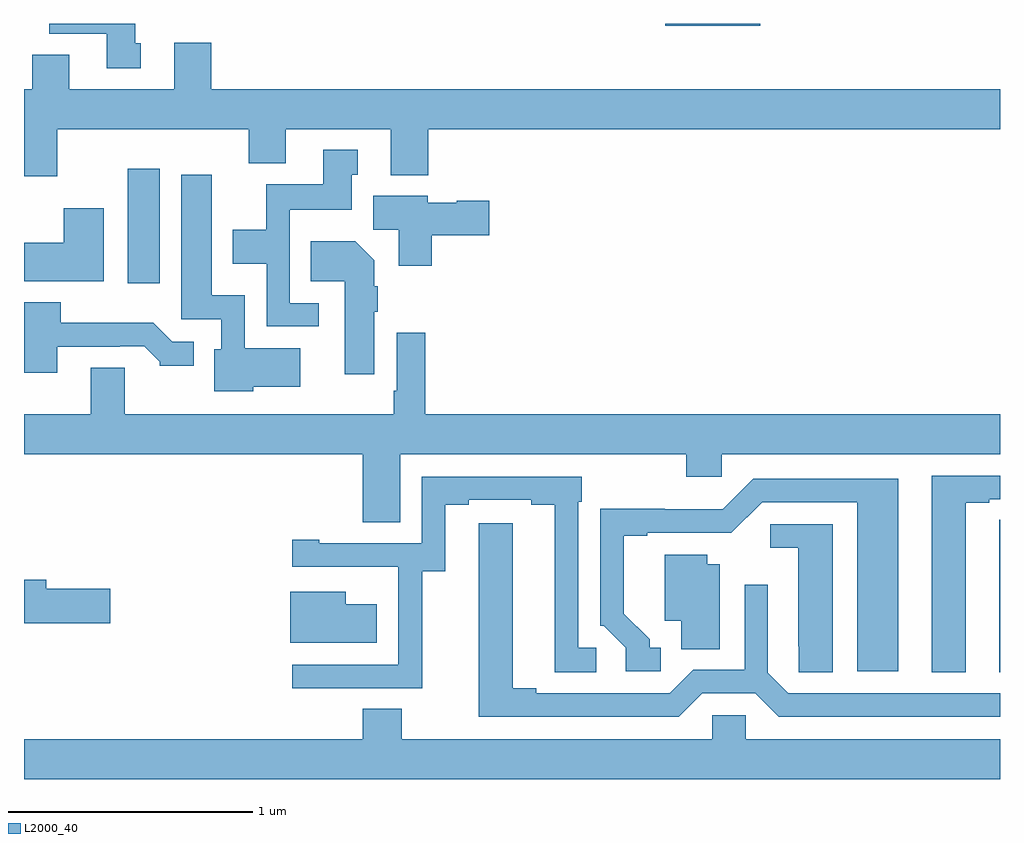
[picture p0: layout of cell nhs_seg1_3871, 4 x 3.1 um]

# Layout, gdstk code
import gdstk
lib = gdstk.Library(unit=1e-6, precision=1e-09)
def R(c, l, rs):  # rectangles x0, y0, x1, y1
    for r in rs: c.add(gdstk.rectangle(r[:2], r[2:], *l))
def P(c, l, *ps):  # polygons
    for p in ps: c.add(gdstk.Polygon(p, *l))
L2000_40 = (2000, 40)

nhs_seg1_3871 = lib.new_cell('nhs_seg1_3871')
R(nhs_seg1_3871, L2000_40, [(323.426,515.136,323.557,515.605), (325.628,516.191,326.017,516.199)])
P(nhs_seg1_3871, L2000_40, [(323.479,516.12),(323.455,516.12),(323.455,516.199),(323.104,516.199),(323.104,516.158),(323.339,516.158),(323.339,516.018),(323.479,516.018)],
  [(323.137,515.768),(323.921,515.768),(323.921,515.627),(324.073,515.627),(324.073,515.768),(324.503,515.768),(324.503,515.579),(324.656,515.579),(324.656,515.768),(327,515.768),(327,515.932),(323.768,515.932),(323.768,516.121),(323.615,516.121),(323.615,515.932),(323.185,515.932),(323.185,516.073),(323.033,516.073),(323.033,515.932),(323,515.932),(323,515.574),(323.137,515.574)],
  [(324.208,515.055),(324.09,515.055),(324.09,515.438),(324.343,515.438),(324.343,515.58),(324.367,515.58),(324.367,515.683),(324.227,515.683),(324.227,515.542),(323.992,515.542),(323.992,515.356),(323.855,515.356),(323.855,515.216),(323.994,515.216),(323.994,514.959),(324.208,514.959)],
  [(323.94,514.712),(324.133,514.712),(324.133,514.87),(323.904,514.87),(323.904,515.086),(323.77,515.086),(323.77,515.581),(323.645,515.581),(323.645,514.989),(323.808,514.989),(323.808,514.866),(323.78,514.866),(323.78,514.694),(323.94,514.694)],
  [(324.671,515.333),(324.907,515.333),(324.907,515.475),(324.774,515.475),(324.774,515.467),(324.654,515.467),(324.654,515.494),(324.431,515.494),(324.431,515.356),(324.536,515.356),(324.536,515.208),(324.671,515.208)],
  [(323.326,515.443),(323.162,515.443),(323.162,515.302),(323,515.302),(323,515.144),(323.326,515.144)],
  [(324.436,515.02),(324.449,515.02),(324.449,515.123),(324.436,515.123),(324.436,515.23),(324.358,515.308),(324.175,515.308),(324.175,515.144),(324.314,515.144),(324.314,514.764),(324.436,514.764)],
  [(323.137,514.875),(323.393,514.875),(323.393,514.878),(323.492,514.878),(323.556,514.814),(323.556,514.799),(323.695,514.799),(323.695,514.896),(323.607,514.896),(323.529,514.975),(323.15,514.975),(323.15,515.059),(323,515.059),(323,514.77),(323.137,514.77)],
  [(324.644,514.933),(324.528,514.933),(324.528,514.696),(324.516,514.696),(324.516,514.6),(323.413,514.6),(323.413,514.79),(323.273,514.79),(323.273,514.6),(323,514.6),(323,514.436),(324.389,514.436),(324.389,514.156),(324.541,514.156),(324.541,514.436),(325.714,514.436),(325.714,514.343),(325.86,514.343),(325.86,514.436),(327,514.436),(327,514.6),(324.644,514.6)],
  [(326.86,514.236),(326.956,514.236),(326.956,514.251),(327,514.251),(327,514.347),(326.72,514.347),(326.72,513.541),(326.86,513.541)],
  [(324.633,513.955),(324.727,513.955),(324.727,514.228),(324.823,514.228),(324.823,514.248),(325.079,514.248),(325.079,514.228),(325.175,514.228),(325.175,513.541),(325.345,513.541),(325.345,513.642),(325.272,513.642),(325.272,514.241),(325.285,514.241),(325.285,514.344),(324.63,514.344),(324.63,514.071),(324.211,514.071),(324.211,514.084),(324.099,514.084),(324.099,513.975),(324.533,513.975),(324.533,513.974),(324.534,513.974),(324.534,513.573),(324.099,513.573),(324.099,513.477),(324.633,513.477)],
  [(326.584,514.335),(325.989,514.335),(325.863,514.209),(325.625,514.209),(325.625,514.212),(325.362,514.212),(325.362,513.732),(325.377,513.732),(325.467,513.642),(325.467,513.546),(325.609,513.546),(325.609,513.642),(325.564,513.642),(325.564,513.677),(325.459,513.782),(325.459,514.101),(325.555,514.101),(325.555,514.113),(325.899,514.113),(326.025,514.239),(326.414,514.239),(326.414,513.545),(326.584,513.545)],
  [(327,514.166),(326.997,514.166),(326.997,514.055),(326.996,514.055),(326.996,513.541),(327,513.541)],
  [(325.779,513.456),(325.997,513.456),(326.093,513.36),(327,513.36),(327,513.456),(326.133,513.456),(326.049,513.54),(326.049,513.901),(325.953,513.901),(325.953,513.552),(325.743,513.552),(325.647,513.456),(325.099,513.456),(325.099,513.476),(325.003,513.476),(325.003,514.153),(324.863,514.153),(324.863,513.36),(325.683,513.36)],
  [(326.314,514.149),(326.058,514.149),(326.058,514.052),(326.174,514.052),(326.174,513.649),(326.175,513.649),(326.175,513.541),(326.314,513.541)],
  [(325.852,513.985),(325.801,513.985),(325.801,514.024),(325.625,514.024),(325.625,513.752),(325.694,513.752),(325.694,513.637),(325.852,513.637)],
  [(323.353,513.884),(323.092,513.884),(323.092,513.92),(323,513.92),(323,513.742),(323.353,513.742)],
  [(324.445,513.82),(324.319,513.82),(324.319,513.871),(324.092,513.871),(324.092,513.662),(324.445,513.662)],
  [(327,513.268),(325.959,513.268),(325.959,513.366),(325.821,513.366),(325.821,513.268),(324.549,513.268),(324.549,513.392),(324.389,513.392),(324.389,513.268),(323,513.268),(323,513.104),(327,513.104)])

lib.write_gds('nhs_seg1_3871.gds')
